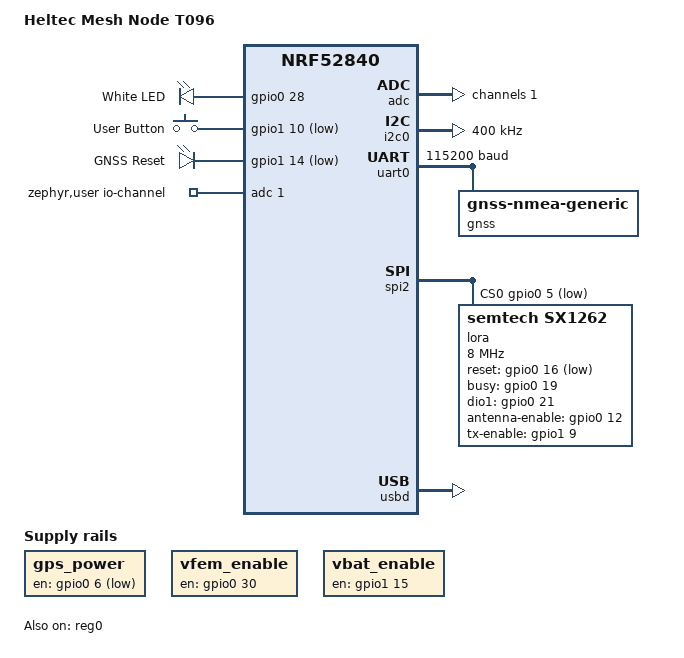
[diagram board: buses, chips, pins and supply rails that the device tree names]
/*
 * Heltec Mesh Node T096 - nRF52840 + SX1262 + UC6580 GNSS
 * Copyright (c) 2026 ZephCore
 *
 * SPDX-License-Identifier: MIT
 *
 * Pin mappings are verified against the official Heltec
 * Mesh_Node_T096_V0.2 schematic. MeshCore's heltec_t096 variant was used as
 * a comparison source; the schematic is the source of truth for implemented
 * nets in this DTS.
 */

/dts-v1/;
#include <nordic/nrf52840_qiaa.dtsi>
#include <zephyr/dt-bindings/lora/sx126x.h>
#include <zephyr/dt-bindings/adc/nrf-saadc.h>
#include <zephyr/dt-bindings/input/input-event-codes.h>
#include "heltec_t096_nrf52840-pinctrl.dtsi"

/ {
	model = "Heltec Mesh Node T096";
	compatible = "heltec,t096";

	chosen {
		zephyr,sram = &sram0;
		zephyr,flash = &flash0;
		zephyr,code-partition = &code_partition;
		zephyr,console = &cdc_acm_uart;
		zephyr,shell-uart = &cdc_acm_uart;
		zephcore,gps-power = &gps_power;
	};

	aliases {
		led0 = &led_white;
		lora-tx-led = &led_white;
		sw0 = &user_button;
		lora0 = &lora;
		watchdog0 = &wdt0;
		gps-reset = &gps_reset_pin;
	};

	leds {
		compatible = "gpio-leds";

		/* Schematic net LED: P0.28 -> R25 -> LED2 -> GND, active-HIGH. */
		led_white: led_0 {
			gpios = <&gpio0 28 GPIO_ACTIVE_HIGH>;
			label = "White LED";
		};
	};

	buttons: buttons {
		compatible = "gpio-keys";

		/* Schematic net Button: P1.10, switch to GND. */
		user_button: button_0 {
			gpios = <&gpio1 10 (GPIO_PULL_UP | GPIO_ACTIVE_LOW)>;
			zephyr,code = <INPUT_KEY_0>;
			label = "User Button";
		};
	};

	user_btn_longpress: user_btn_longpress {
		compatible = "zephyr,input-longpress";
		input = <&buttons>;
		input-codes = <INPUT_KEY_0>;
		short-codes = <INPUT_KEY_A>;
		long-codes = <INPUT_KEY_ENTER>;
		long-delay-ms = <1000>;
	};

	user_btn_multitap {
		compatible = "zephcore,input-multi-tap";
		input-codes = <INPUT_KEY_A>;
		tap-codes = <INPUT_KEY_1 INPUT_KEY_B INPUT_KEY_D INPUT_KEY_C INPUT_KEY_E>;
		tap-delay-ms = <400>;
	};

	/*
	 * Schematic net VGNSS_CTRL: P0.06 controls the VGNSS_3V3 rail.
	 * MeshCore defines PIN_GPS_EN_ACTIVE=LOW for this net.
	 */
	gps_power: gps-power {
		compatible = "regulator-fixed";
		regulator-name = "gps-power";
		enable-gpios = <&gpio0 6 GPIO_ACTIVE_LOW>;
		regulator-boot-on;
		startup-delay-us = <10000>;
	};

	/* Schematic net GNSS_RST: P1.14 -> UC6580 RESETN, active-LOW. */
	gps_rst: gps-reset {
		compatible = "gpio-leds";
		gps_reset_pin: gps_reset {
			gpios = <&gpio1 14 GPIO_ACTIVE_LOW>;
			label = "GNSS Reset";
		};
	};

	/* Schematic net VFEM_Ctrl: P0.30 enables U5, producing the Vfem rail. */
	vfem_enable: vfem-enable {
		compatible = "regulator-fixed";
		regulator-name = "vfem-enable";
		enable-gpios = <&gpio0 30 GPIO_ACTIVE_HIGH>;
		regulator-boot-on;
		startup-delay-us = <1000>;
	};

	/* Schematic net ADC_Ctrl: P1.15 enables the VBAT divider. */
	vbat_enable: vbat-enable {
		compatible = "regulator-fixed";
		regulator-name = "vbat-enable";
		enable-gpios = <&gpio1 15 GPIO_ACTIVE_HIGH>;
	};

	zephyr,user {
		io-channels = <&adc 1>;
		/*
		 * Schematic: ADC_IN on P0.03/AIN1, divider R22=390K high side
		 * and R23=100K low side -> 4.9:1. With ADC_GAIN_1_6 and
		 * internal 0.6V ref, full-scale is 3600 mV.
		 */
		vbat-mv-multiplier = <17728>;
	};
};

&reg0 {
	status = "okay";
};

&reg1 {
	regulator-initial-mode = <NRF5X_REG_MODE_DCDC>;
};

&adc {
	status = "okay";
	#address-cells = <1>;
	#size-cells = <0>;

	channel@1 {
		reg = <1>;
		zephyr,gain = "ADC_GAIN_1_6";
		zephyr,reference = "ADC_REF_INTERNAL";
		zephyr,acquisition-time = <ADC_ACQ_TIME(ADC_ACQ_TIME_MICROSECONDS, 10)>;
		zephyr,input-positive = <NRF_SAADC_AIN1>;
		zephyr,resolution = <12>;
	};
};

&gpiote {
	status = "okay";
};

&gpio0 {
	status = "okay";
};

&gpio1 {
	status = "okay";
};

&i2c0 {
	compatible = "nordic,nrf-twim";
	status = "okay";
	clock-frequency = <I2C_BITRATE_FAST>;
	pinctrl-0 = <&i2c0_default>;
	pinctrl-1 = <&i2c0_sleep>;
	pinctrl-names = "default", "sleep";

	#include "../../common/sensors-i2c.dtsi"
};

&uart0 {
	compatible = "nordic,nrf-uarte";
	status = "okay";
	current-speed = <115200>;
	pinctrl-0 = <&uart0_default>;
	pinctrl-1 = <&uart0_sleep>;
	pinctrl-names = "default", "sleep";

	gnss: gnss {
		compatible = "gnss-nmea-generic";
	};
};

/* SPI2 - SX1262 LoRa radio */
&spi2 {
	compatible = "nordic,nrf-spim";
	status = "okay";
	cs-gpios = <&gpio0 5 GPIO_ACTIVE_LOW>;  /* Schematic net LoRa_NSS */
	pinctrl-0 = <&spi2_default>;
	pinctrl-1 = <&spi2_sleep>;
	pinctrl-names = "default", "sleep";

	lora: lora@0 {
		compatible = "semtech,sx1262";
		reg = <0>;
		spi-max-frequency = <8000000>;

		reset-gpios = <&gpio0 16 GPIO_ACTIVE_LOW>;  /* LoRa_RST */
		busy-gpios = <&gpio0 19 GPIO_ACTIVE_HIGH>;  /* LoRa_BUSY */
		dio1-gpios = <&gpio0 21 (GPIO_PULL_DOWN | GPIO_ACTIVE_HIGH)>; /* DIO1 */

		/*
		 * KCT8103L PA/FEM control:
		 * - PA_CSD P0.12 -> CSD, active-HIGH FEM enable.
		 * - PA_CTX P1.09 -> CTX, HIGH for TX in the existing ZephCore
		 *   SX1262 tx-enable model. MeshCore uses the same net for
		 *   TX/LNA-bypass control.
		 * - PA_CPS is not an MCU GPIO on T096; it is the SX1262 DIO2
		 *   net into the KCT8103L CPS pin, so use dio2-tx-enable.
		 */
		antenna-enable-gpios = <&gpio0 12 GPIO_ACTIVE_HIGH>; /* PA_CSD */
		tx-enable-gpios = <&gpio1 9 GPIO_ACTIVE_HIGH>;       /* PA_CTX */
		dio2-tx-enable;                                      /* PA_CPS */

		dio3-tcxo-voltage = <SX126X_DIO3_TCXO_1V8>;
		tcxo-power-startup-delay-ms = <5>;
		rx-boosted;
	};
};

/*
 * External SPI flash footprint is present in the schematic (F_SPI_* nets),
 * but the memory device and Zephyr-compatible parameters are not confirmed.
 */
&qspi {
	status = "disabled";
};

zephyr_udc0: &usbd {
	compatible = "nordic,nrf-usbd";
	status = "okay";

	cdc_acm_uart: cdc_acm_uart {
		compatible = "zephyr,cdc-acm-uart";
	};
};

/* SoftDevice s140 v6.1.1 flash layout (app@0x26000, bootloader@0xF4000) */
#include "../../common/nrf52_partitions_sdv6.dtsi"
#include "../../common/nrf52_wakeup.dtsi"
